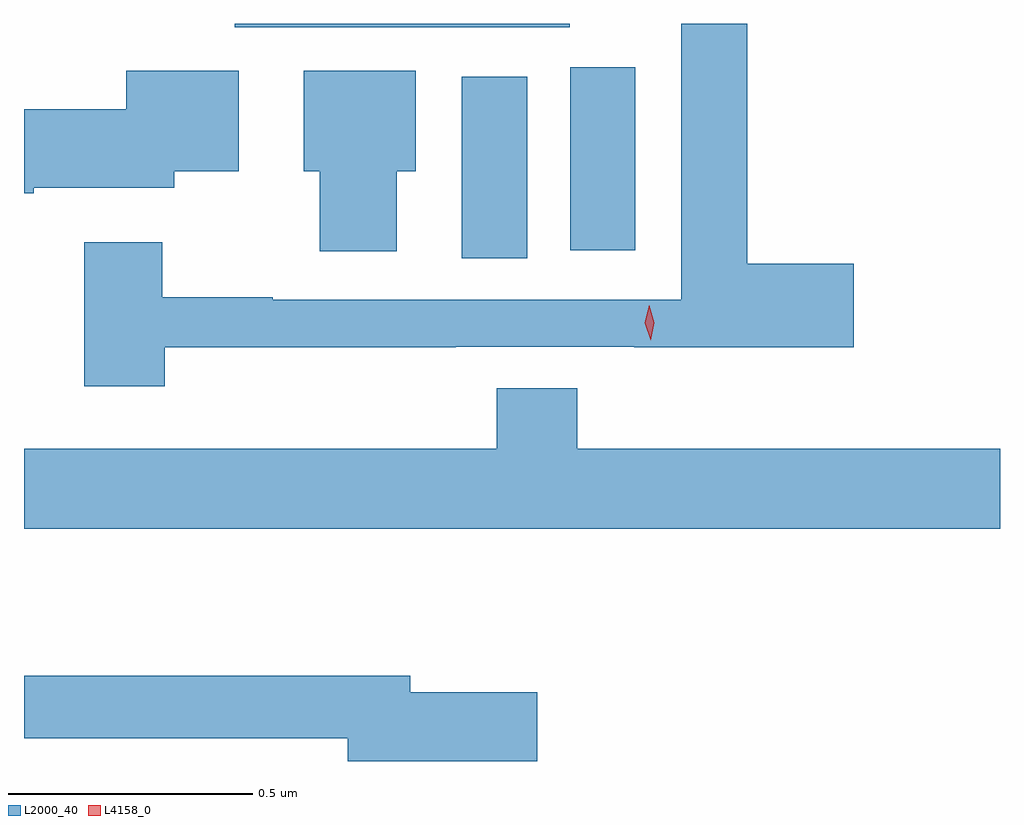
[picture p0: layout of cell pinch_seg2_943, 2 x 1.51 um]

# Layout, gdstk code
import gdstk
lib = gdstk.Library(unit=1e-6, precision=1e-09)
def R(c, l, rs):  # rectangles x0, y0, x1, y1
    for r in rs: c.add(gdstk.rectangle(r[:2], r[2:], *l))
def P(c, l, *ps):  # polygons
    for p in ps: c.add(gdstk.Polygon(p, *l))
L2000_40 = (2000, 40)
L4158_0 = (4158, 0)

pinch_seg2_943 = lib.new_cell('pinch_seg2_943')
R(pinch_seg2_943, L2000_40, [(603.14,640.198,603.274,640.57), (603.362,640.215,603.496,640.59), (602.675,640.671,603.361,640.679)])
P(pinch_seg2_943, L2000_40, [(602.531,640.016),(603.128,640.016),(603.128,640.017),(603.494,640.017),(603.494,640.016),(603.943,640.016),(603.943,640.187),(603.725,640.187),(603.725,640.679),(603.59,640.679),(603.59,640.113),(602.753,640.113),(602.753,640.118),(602.526,640.118),(602.526,640.231),(602.366,640.231),(602.366,639.936),(602.531,639.936)],
  [(602.263,640.343),(602.551,640.343),(602.551,640.376),(602.683,640.376),(602.683,640.582),(602.453,640.582),(602.453,640.503),(602.243,640.503),(602.243,640.331),(602.263,640.331)],
  [(603.007,640.376),(603.046,640.376),(603.046,640.582),(602.816,640.582),(602.816,640.376),(602.849,640.376),(602.849,640.212),(603.007,640.212)],
  [(604.243,639.808),(603.377,639.808),(603.377,639.932),(603.212,639.932),(603.212,639.808),(602.243,639.808),(602.243,639.644),(604.243,639.644)],
  [(603.295,639.309),(603.034,639.309),(603.034,639.343),(602.243,639.343),(602.243,639.214),(602.906,639.214),(602.906,639.167),(603.295,639.167)])
P(pinch_seg2_943, L4158_0, [(603.527,640.03),(603.527,640.03),(603.515,640.066),(603.524,640.102),(603.524,640.102),(603.524,640.102),(603.535,640.066),(603.527,640.03)])

lib.write_gds('pinch_seg2_943.gds')
